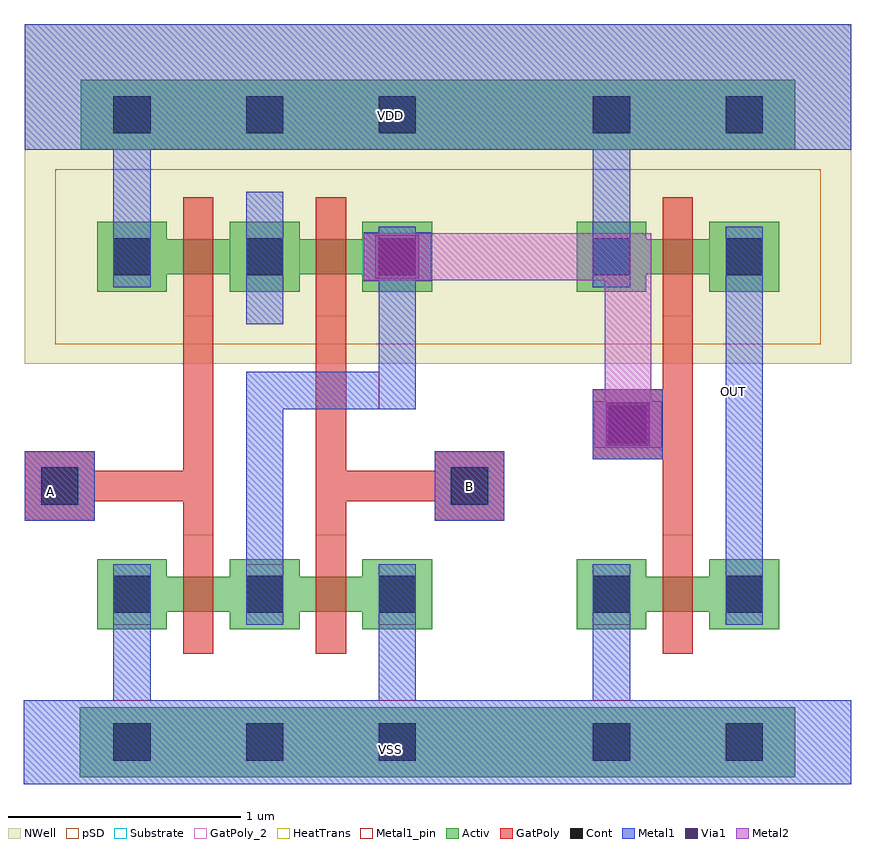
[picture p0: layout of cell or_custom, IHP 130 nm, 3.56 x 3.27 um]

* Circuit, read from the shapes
.subckt or_custom A B OUT VDD VSS
XM1 nor_custom_0/OUT A VSS VSS sg13_lv_nmos w=0.15u l=0.13u
XM2 VSS B nor_custom_0/OUT VSS sg13_lv_nmos w=0.15u l=0.13u
XM3 OUT nor_custom_0/OUT VSS VSS sg13_lv_nmos w=0.15u l=0.13u
XM4 n1 A VDD VDD sg13_lv_pmos w=0.15u l=0.13u
XM5 nor_custom_0/OUT B n1 VDD sg13_lv_pmos w=0.15u l=0.13u
XM6 OUT nor_custom_0/OUT VDD VDD sg13_lv_pmos w=0.15u l=0.13u
.ends

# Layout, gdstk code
from math import pi, radians
import gdstk
lib = gdstk.Library(unit=1e-6, precision=5e-09)
def R(c, l, rs):  # rectangles x0, y0, x1, y1
    for r in rs: c.add(gdstk.rectangle(r[:2], r[2:], *l))
def A(c, l, x, y, w, h, nx, ny, dx, dy):  # array of equal rectangles
    R(c, l, [(x+i*dx, y+j*dy, x+i*dx+w, y+j*dy+h) for i in range(nx) for j in range(ny)])
Activ = (1, 0)
GatPoly = (5, 0)
GatPoly_2 = (5, 2)
Cont = (6, 0)
Metal1 = (8, 0)
Metal1_pin = (8, 2)
Metal2 = (10, 0)
pSD = (14, 0)
Via1 = (19, 0)
NWell = (31, 0)
Substrate = (40, 0)
HeatTrans = (51, 0)

pmos = lib.new_cell('pmos')
R(pmos, Activ, [(0,0,0.3,0.3), (0.57,0,0.87,0.3), (0,0.075,0.87,0.225)])
R(pmos, GatPoly, [(0.37,-0.105,0.5,0.405), (0.37,-0.105,0.5,0.405)])
R(pmos, Cont, [(0.07,0.07,0.23,0.23), (0.64,0.07,0.8,0.23)])
R(pmos, Metal1, [(0.07,0.02,0.23,0.28), (0.07,0.02,0.23,0.28), (0.64,0.02,0.8,0.28), (0.64,0.02,0.8,0.28)])
R(pmos, pSD, [(-0.18,-0.225,1.05,0.525)])
R(pmos, NWell, [(-0.31,-0.31,1.18,0.61)])
R(pmos, Substrate, [(0.57,0,0.87,0.3)])
R(pmos, HeatTrans, [(0.37,-0.105,0.5,0.405)])
pmos.add(gdstk.Label('pmos', (0.435,0.15), layer=63, texttype=0))
pmos.add(gdstk.Label('pmos', (0.435,0.15), layer=51, texttype=0))

nmos = lib.new_cell('nmos')
R(nmos, Activ, [(0,0,0.3,0.3), (0.57,0,0.87,0.3), (0,0.075,0.87,0.225)])
R(nmos, GatPoly, [(0.37,-0.105,0.5,0.405)])
R(nmos, GatPoly_2, [(0.37,-0.105,0.5,0.405)])
R(nmos, Cont, [(0.07,0.07,0.23,0.23), (0.64,0.07,0.8,0.23)])
R(nmos, Metal1, [(0.07,0.02,0.23,0.28), (0.64,0.02,0.8,0.28)])
R(nmos, Metal1_pin, [(0.07,0.02,0.23,0.28), (0.64,0.02,0.8,0.28)])
R(nmos, HeatTrans, [(0.37,-0.105,0.5,0.405)])
nmos.add(gdstk.Label('nmos', (0.435,0.15), layer=63, texttype=0))
nmos.add(gdstk.Label('nmos', (0.435,0.15), layer=51, texttype=0))

nor_custom = lib.new_cell('nor_custom')
R(nor_custom, Activ, [(0.405,-0.26,1.985,0.04), (0.41,2.435,1.99,2.735)])
R(nor_custom, GatPoly, [(0.85,0.27,0.98,2.23), (1.42,0.27,1.55,2.23), (0.17,0.84,0.47,1.14), (1.93,0.84,2.23,1.14), (0.47,0.925,0.85,1.055), (1.55,0.925,1.93,1.055)])
A(nor_custom, Cont, 0.55, -0.19, 0.16, 0.16, 3, 2, 0.57, 2.695)
R(nor_custom, Cont, [(0.24,0.91,0.4,1.07), (2,0.91,2.16,1.07)])
R(nor_custom, Metal1, [(0.165,-0.29,2.225,0.07), (0.55,-0.26,0.71,0.655), (1.69,-0.26,1.85,0.655), (1.12,0.4,1.28,1.48), (0.17,0.84,0.47,1.14), (1.93,0.84,2.23,1.14), (1.12,1.32,1.85,1.48), (1.69,1.32,1.85,2.105), (1.12,1.685,1.28,2.255), (0.55,1.845,0.71,2.735), (0.17,2.435,2.23,2.975)])
R(nor_custom, Metal1_pin, [(0.165,-0.29,2.225,0.07), (0.17,0.84,0.47,1.14), (1.93,0.84,2.23,1.14), (1.69,1.32,1.85,2.105), (0.17,2.435,2.23,2.975)])
R(nor_custom, pSD, [(0.165,-0.29,2.225,0.07)])
R(nor_custom, NWell, [(0.17,2.435,2.23,2.975)])
nor_custom.add(gdstk.Reference(pmos, (0.48,1.825)))
nor_custom.add(gdstk.Reference(pmos, (1.05,1.825)))
nor_custom.add(gdstk.Reference(nmos, (1.92,0.675), rotation=pi))
nor_custom.add(gdstk.Reference(nmos, (0.48,0.375)))
nor_custom.add(gdstk.Label('VSS', (1.155,-0.105), layer=8, texttype=25))
nor_custom.add(gdstk.Label('B', (2.04,0.95), layer=8, texttype=25))
nor_custom.add(gdstk.Label('A', (0.295,0.955), layer=8, texttype=25))
nor_custom.add(gdstk.Label('OUT', (1.735,1.375), layer=8, texttype=25))
nor_custom.add(gdstk.Label('VDD', (1.13,2.545), layer=8, texttype=25))

pmos_1 = lib.new_cell('pmos$1')
R(pmos_1, Activ, [(0,0,0.3,0.3), (0.57,0,0.87,0.3), (0,0.075,0.87,0.225)])
R(pmos_1, GatPoly, [(0.37,-0.105,0.5,0.405), (0.37,-0.105,0.5,0.405)])
R(pmos_1, Cont, [(0.07,0.07,0.23,0.23), (0.64,0.07,0.8,0.23)])
R(pmos_1, Metal1, [(0.07,0.02,0.23,0.28), (0.07,0.02,0.23,0.28), (0.64,0.02,0.8,0.28), (0.64,0.02,0.8,0.28)])
R(pmos_1, pSD, [(-0.18,-0.225,1.05,0.525)])
R(pmos_1, NWell, [(-0.31,-0.31,1.18,0.61)])
R(pmos_1, Substrate, [(0.57,0,0.87,0.3)])
R(pmos_1, HeatTrans, [(0.37,-0.105,0.5,0.405)])
pmos_1.add(gdstk.Label('pmos', (0.435,0.15), layer=63, texttype=0))
pmos_1.add(gdstk.Label('pmos', (0.435,0.15), layer=51, texttype=0))

nmos_1 = lib.new_cell('nmos$1')
R(nmos_1, Activ, [(0,0,0.3,0.3), (0.57,0,0.87,0.3), (0,0.075,0.87,0.225)])
R(nmos_1, GatPoly, [(0.37,-0.105,0.5,0.405)])
R(nmos_1, GatPoly_2, [(0.37,-0.105,0.5,0.405)])
R(nmos_1, Cont, [(0.07,0.07,0.23,0.23), (0.64,0.07,0.8,0.23)])
R(nmos_1, Metal1, [(0.07,0.02,0.23,0.28), (0.64,0.02,0.8,0.28)])
R(nmos_1, Metal1_pin, [(0.07,0.02,0.23,0.28), (0.64,0.02,0.8,0.28)])
R(nmos_1, HeatTrans, [(0.37,-0.105,0.5,0.405)])
nmos_1.add(gdstk.Label('nmos', (0.435,0.15), layer=63, texttype=0))
nmos_1.add(gdstk.Label('nmos', (0.435,0.15), layer=51, texttype=0))

inv = lib.new_cell('inv')
R(inv, Activ, [(0.48,-0.04,1.49,0.26), (0.48,2.655,1.49,2.955)])
R(inv, GatPoly, [(0.92,0.76,1.05,2.45), (0.62,1.325,0.92,1.625)])
R(inv, Cont, [(0.62,0.03,0.78,0.19), (1.19,0.03,1.35,0.19), (0.69,1.395,0.85,1.555), (0.62,2.725,0.78,2.885), (1.19,2.725,1.35,2.885)])
R(inv, Metal1, [(0.24,-0.07,1.73,0.29), (0.62,-0.04,0.78,0.875), (1.19,0.615,1.35,2.325), (0.62,1.325,0.92,1.625), (0.62,2.065,0.78,2.955), (0.24,2.655,1.73,3.195)])
R(inv, Metal1_pin, [(0.24,-0.07,1.73,0.29), (1.19,0.615,1.35,2.325), (0.62,1.325,0.92,1.625), (0.24,2.655,1.73,3.195)])
R(inv, pSD, [(0.24,-0.07,1.73,0.29)])
R(inv, NWell, [(0.24,2.655,1.73,3.195)])
inv.add(gdstk.Reference(pmos_1, (0.55,2.045)))
inv.add(gdstk.Reference(nmos_1, (0.55,0.595)))
inv.add(gdstk.Label('VSS', (0.64,0.09), layer=8, texttype=25))
inv.add(gdstk.Label('VDD', (0.675,2.805), layer=8, texttype=25))
inv.add(gdstk.Label('VIN', (0.73,1.475), layer=8, texttype=25))
inv.add(gdstk.Label('VOUT', (1.2,1.665), layer=8, texttype=25))

or_custom = lib.new_cell('or_custom')
R(or_custom, Activ, [(1.985,-0.26,2.47,0.04), (1.99,2.435,2.47,2.735)])
R(or_custom, Metal1, [(0.165,-0.29,3.72,0.07), (2.615,1.15,2.905,1.36), (1.625,1.87,1.915,2.08)])
R(or_custom, Metal1_pin, [(0.165,-0.29,3.72,0.07), (3.18,0.395,3.34,2.105), (0.17,2.435,3.72,2.975)])
R(or_custom, Metal2, [(2.615,1.155,2.905,1.355), (2.66,1.155,2.86,2.075), (1.625,1.875,1.915,2.075), (1.625,1.875,2.86,2.075)])
R(or_custom, pSD, [(0.165,-0.29,3.72,0.07), (2.1,1.6,2.36,2.35)])
R(or_custom, Via1, [(2.665,1.16,2.855,1.35), (1.675,1.88,1.865,2.07)])
or_custom.add(gdstk.Reference(nor_custom, (0,0)))
or_custom.add(gdstk.Reference(inv, (1.99,-0.22)))
or_custom.add(gdstk.Label('VDD', (1.74,2.58), layer=8, texttype=25))
or_custom.add(gdstk.Label('VSS', (1.74,-0.14), layer=8, texttype=25))
or_custom.add(gdstk.Label('A', (0.28,0.965), layer=8, texttype=25))
or_custom.add(gdstk.Label('B', (2.08,0.99), layer=8, texttype=25))
or_custom.add(gdstk.Label('OUT', (3.215,1.395), layer=8, texttype=25))

lib.write_gds('or_custom.gds')
